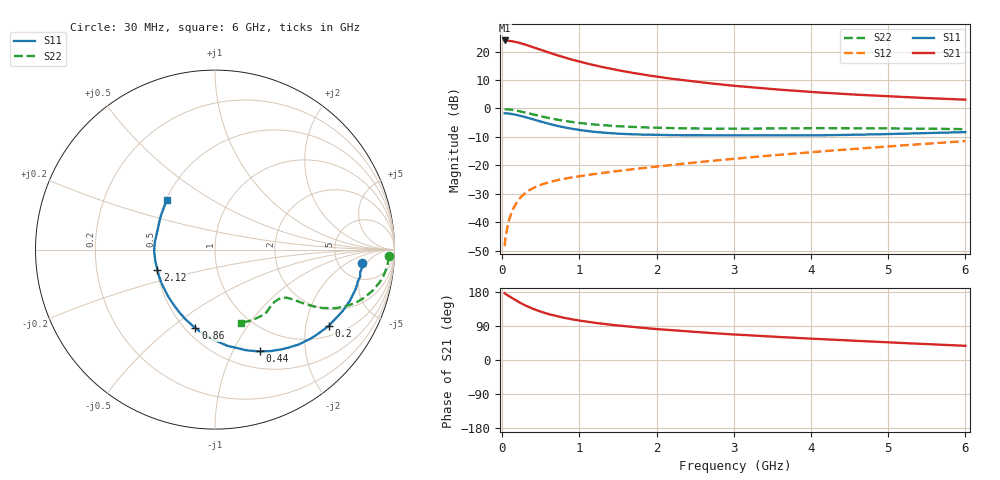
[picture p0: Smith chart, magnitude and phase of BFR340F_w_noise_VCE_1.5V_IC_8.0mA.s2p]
! Infineon Technologies  Discrete & RF Semiconductors
! BFR340F
! VCE =  1.5 V,  IC =  8.0 mA
! Common Emitter S-Parameters:  Nov 2015
# GHz  S  MA  R  50
!  f  S11  S21  S12  S22
! GHz  MAG  ANG  MAG  ANG  MAG  ANG  MAG  ANG
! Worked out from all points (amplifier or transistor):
!   206 points, 30 MHz to 6 GHz, reference 50 ohm
!   highest |S21| = 23.9 dB at 30 MHz (marker M1)
!   |S21| within 3 dB of that: start of sweep to 467 MHz
!   unconditionally stable (mu >= 1): 1.783 GHz to 5.483 GHz
!   at 200 MHz: K = 0.20, MSG = 27.9 dB, |S12| = -32.5 dB
!   at 1.56 GHz: K = 0.95, MSG = 17.5 dB, |S12| = -21.8 dB
!   at 6 GHz: K = 0.97, MSG = 7.3 dB, |S12| = -11.5 dB
!   lowest NFmin = 1.32 dB at 450 MHz
!   S11 on the Smith chart (normalised r, x): 30 MHz: 8.49, -3.94; 200 MHz: 1.32, -2.70; 440 MHz: 0.70, -1.29; 860 MHz: 0.56, -0.61; 2.12 GHz: 0.50, -0.13; 6 GHz: 0.51, +0.33
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0.03  0.8237 -5.2  15.68 176.4  0.0038 85.1  0.969 -2.2
0.05  0.8186 -8.9  15.56 173.0  0.0063 85.1  0.9667 -3.9
0.09  0.8134 -16.2  15.47 168.2  0.0113 81.9  0.958 -7.0
0.15  0.7884 -26.0  14.97 160.4  0.0183 77.3  0.934 -11.4
0.2  0.7629 -33.9  14.48 154.5  0.0237 73.5  0.9077 -14.6
0.26  0.7275 -43.0  13.75 147.9  0.0293 69.7  0.8717 -18.0
0.3  0.705 -48.6  13.24 143.8  0.0328 67.4  0.8468 -20.0
0.36  0.6672 -56.5  12.45 138.3  0.0373 64.6  0.8089 -22.5
0.44  0.6202 -66.0  11.43 131.8  0.0424 61.6  0.7615 -25.1
0.5  0.5875 -72.7  10.72 127.5  0.0457 59.8  0.7281 -26.7
0.6  0.5398 -82.8  9.643 121.1  0.0504 57.7  0.6799 -28.6
0.7  0.4994 -91.7  8.711 115.9  0.0545 56.5  0.6396 -29.8
0.86  0.4501 -104.0  7.503 109.1  0.0601 55.7  0.59 -31.0
1.04  0.4119 -115.9  6.454 102.8  0.0657 55.8  0.5488 -31.9
1.22  0.3853 -126.4  5.638 97.6  0.0712 56.4  0.5188 -32.5
1.5  0.3602 -139.7  4.7 90.9  0.0798 57.9  0.4879 -33.6
2.02  0.3418 -157.9  3.594 81.3  0.0962 60.9  0.4577 -36.2
2.12  0.34 -160.9  3.441 79.7  0.0995 61.4  0.4544 -36.9
3.1  0.3383 177.6  2.44 66.3  0.1344 65.2  0.4413 -44.3
4.1  0.3375 161.4  1.913 55.4  0.1746 66.9  0.4514 -51.5
5.1  0.3574 146.6  1.613 45.6  0.22 66.9  0.4449 -60.8
6  0.384 133.8  1.427 37.4  0.2671 65.6  0.4331 -70.3
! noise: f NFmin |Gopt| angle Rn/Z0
0.45  1.32  0.34  1  0.29
0.9  1.37  0.33  10  0.32
1.9  1.68  0.2  6  0.3
2.4  1.87  0.15  18  0.3
